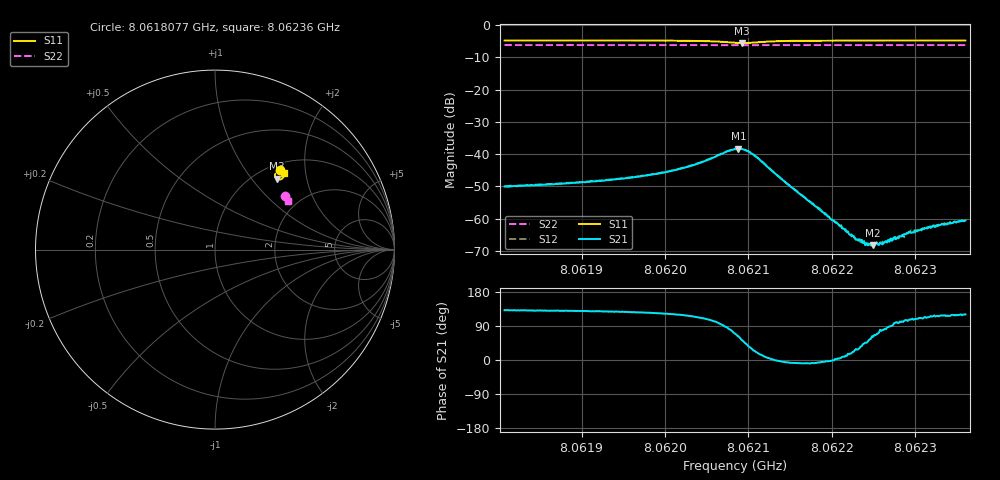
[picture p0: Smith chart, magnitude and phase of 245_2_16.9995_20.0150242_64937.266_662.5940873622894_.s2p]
#  HZ  S  RI  R  50.00
! Rohde & Schwarz Vector Network Analyzer
! Rohde-Schwarz,ZNB20-2Port,1311601062101988,3.16
! Created: UTC 3/20/2024, 11:03:02 PM
! freq[Hz]  re:S11  im:S11  re:S21  im:S21  re:S12  im:S12  re:S22  im:S22
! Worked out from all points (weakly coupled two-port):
!   401 points, 8.0618077 GHz to 8.06236 GHz, reference 50 ohm
!   highest |S21| = -38.32 dB at 8.062088 GHz (marker M1); lowest = -68.3 dB at 8.0622496 GHz (marker M2)
!   lowest |S11| = -5.6 dB at 8.0620922 GHz (marker M3), VSWR 3.20, Z = 61.9 + j67.3 ohm
!   |S11| at or under -10 dB: nowhere
!   |S22| runs from -6.3 to -6.2 dB; largest |S21 - S12| = 0.00093
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8.06180771e9  0.3645 0.4458  -0.00208 0.00236  -0.00195 0.00247  0.389 0.2966
8.06190022e9  0.3713 0.4397  -0.00231 0.00284  -0.00216 0.00298  0.3923 0.292
8.0619527e9  0.3755 0.4352  -0.00257 0.00337  -0.00234 0.00354  0.394 0.2893
8.06199274e9  0.3794 0.4297  -0.00275 0.00421  -0.00253 0.00439  0.3954 0.2871
8.06203279e9  0.3832 0.4199  -0.00284 0.00604  -0.00252 0.00625  0.3966 0.2848
8.06208388e9  0.3582 0.39  0.00421 0.0112  0.00499 0.0111  0.3967 0.2814
8.06208802e9  0.3507 0.3914  0.00565 0.0107  0.00646 0.0103  0.3965 0.2815
8.06209216e9  0.3438 0.395  0.00735 0.00945  0.00785 0.00914  0.3964 0.2816
8.06210045e9  0.3352 0.4078  0.00888 0.0063  0.0092 0.00593  0.3965 0.282
8.06211011e9  0.3355 0.4228  0.00833 0.00304  0.00862 0.00246  0.3971 0.2821
8.06214464e9  0.3562 0.4392  0.00359 -0.00036  0.0036 -0.000579  0.3993 0.2809
8.06217639e9  0.3666 0.4386  0.00167 -0.000229  0.0017 -0.000354  0.4006 0.2792
8.06222887e9  0.3754 0.4348  0.00041 0.000226  0.000444 0.000185  0.4027 0.2764
8.06224268e9  0.377 0.4341  0.000262 0.000283  0.000267 0.00032  0.4033 0.2758
8.06224958e9  0.3777 0.4335  0.000184 0.000337  0.000173 0.000331  0.4034 0.2754
8.06225787e9  0.3785 0.4329  7.41e-05 0.000421  0.000126 0.000413  0.4038 0.2749
8.06226891e9  0.3796 0.4322  1.11e-05 0.000436  5.81e-05 0.000454  0.4041 0.2743
8.06227167e9  0.3799 0.432  -3.75e-07 0.000453  7.43e-07 0.00046  0.4042 0.2742
8.06228962e9  0.3815 0.431  -0.000156 0.000572  -0.000138 0.000565  0.4048 0.2733
8.06229653e9  0.3821 0.4305  -0.000198 0.000579  -0.000156 0.000605  0.405 0.273
8.06231862e9  0.3838 0.4292  -0.000315 0.00065  -0.000262 0.000707  0.4058 0.2717
8.06236005e9  0.3869 0.4268  -0.000474 0.00081  -0.000445 0.000844  0.4072 0.2697
